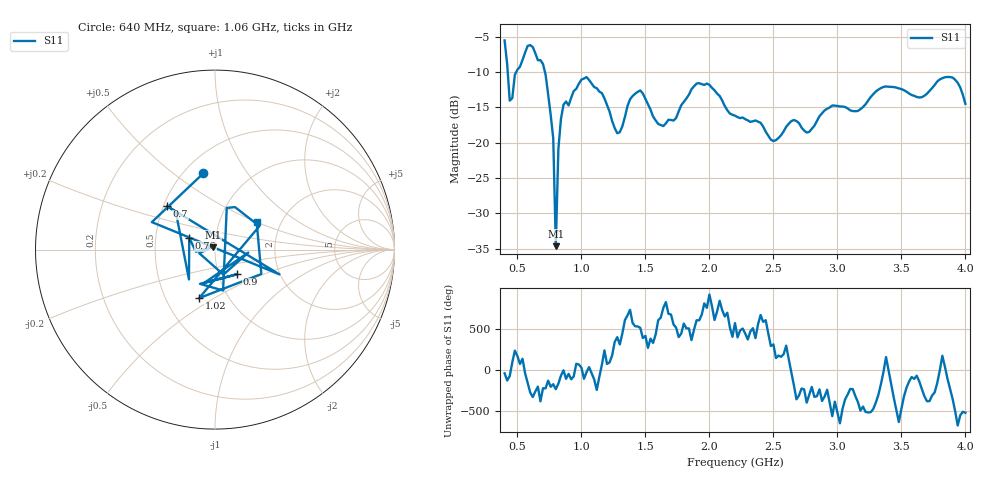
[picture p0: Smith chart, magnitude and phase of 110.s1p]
!Created with skrf (http://scikit-rf.org).
# Hz S RI R 50.0
!freq ReS11 ImS11
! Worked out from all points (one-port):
!   181 points, 400 MHz to 4 GHz, reference 50 ohm
!   lowest |S11| = -34.6 dB at 800 MHz (marker M1), VSWR 1.04, Z = 48.9 + j1.46 ohm
!   |S11| at or under -10 dB: 424.4 MHz to 490.4 MHz (65.94 MHz wide, 14.4 % of centre); 715.5 MHz to end of sweep
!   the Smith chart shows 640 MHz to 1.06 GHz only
!   S11 on the Smith chart (normalised r, x): 640 MHz: 0.62, +0.65; 700 MHz: 0.52, +0.29; 760 MHz: 0.74, +0.10; 900 MHz: 1.22, -0.35; 1.02 GHz: 0.73, -0.43; 1.06 GHz: 1.51, +0.50
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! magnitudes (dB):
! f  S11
! 400 MHz  -5.5
! 440 MHz  -14.0
! 580 MHz  -6.3
! 640 MHz  -7.3
! 700 MHz  -8.9
! 760 MHz  -16.0
! 780 MHz  -19.4
! 800 MHz  -34.6
! 820 MHz  -20.9
! 860 MHz  -14.6
! 900 MHz  -14.7
! 1.02 GHz  -10.9
! 1.06 GHz  -11.1
! 1.3 GHz  -18.5
! 1.46 GHz  -12.6
! 1.6 GHz  -17.3
! 1.76 GHz  -15.6
! 1.98 GHz  -11.6
! 2.2 GHz  -16.2
! 2.5 GHz  -19.8
! 2.66 GHz  -16.8
! 2.76 GHz  -18.5
! 2.96 GHz  -14.7
! 3.1 GHz  -15.4
! 3.36 GHz  -12.1
! 3.56 GHz  -13.0
! 3.88 GHz  -10.7
! 4 GHz  -14.5
